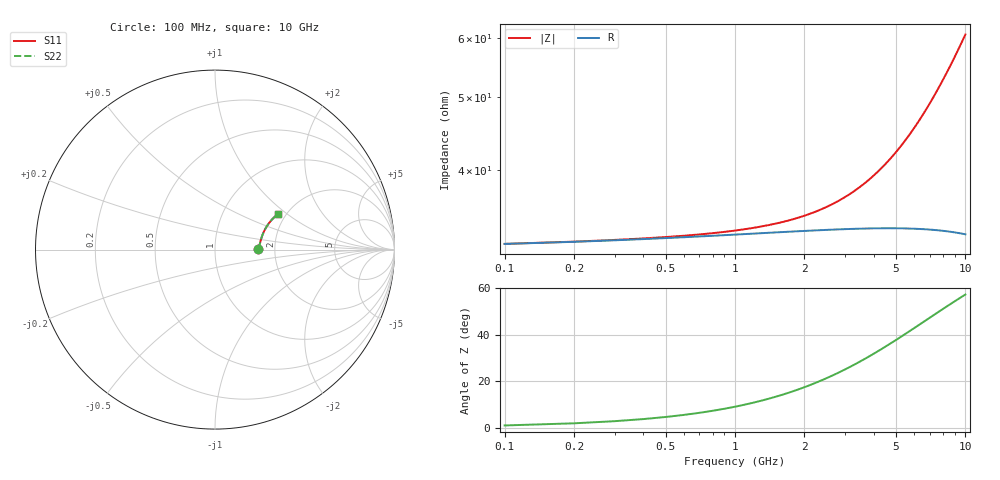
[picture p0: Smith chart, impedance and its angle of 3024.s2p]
# Hz S RI R 50.00
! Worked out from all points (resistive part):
!   100 points, 100 MHz to 10 GHz, reference 50 ohm
!   read as one part in series: R = 31.8 ohm at 100 MHz
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1e8  0.2415 0.00244  0.7585 -0.00347  0.7585 -0.00347  0.2415 0.00244
2e8  0.2427 0.00486  0.7573 -0.00692  0.7573 -0.00692  0.2427 0.00486
4e8  0.2444 0.00967  0.7556 -0.0138  0.7556 -0.0138  0.2444 0.00967
7e8  0.2463 0.0168  0.7536 -0.0241  0.7536 -0.0241  0.2463 0.0168
1.2e9  0.2491 0.0287  0.7508 -0.041  0.7508 -0.041  0.2491 0.0287
1.5e9  0.2507 0.0357  0.7491 -0.0511  0.7491 -0.0511  0.2507 0.0357
1.8e9  0.2524 0.0426  0.7474 -0.0612  0.7474 -0.0612  0.2524 0.0426
2.2e9  0.2549 0.0519  0.7448 -0.0745  0.7448 -0.0745  0.2549 0.0519
2.6e9  0.2575 0.061  0.7421 -0.0878  0.7421 -0.0878  0.2575 0.061
3e9  0.2604 0.0699  0.739 -0.1009  0.739 -0.1009  0.2604 0.0699
3.4e9  0.2636 0.0788  0.7357 -0.1139  0.7357 -0.1139  0.2636 0.0788
3.8e9  0.267 0.0875  0.7321 -0.1267  0.7321 -0.1267  0.267 0.0875
4.2e9  0.2707 0.0961  0.7283 -0.1394  0.7283 -0.1394  0.2707 0.0961
4.6e9  0.2746 0.1045  0.7241 -0.152  0.7241 -0.152  0.2746 0.1045
5.1e9  0.2799 0.1147  0.7185 -0.1674  0.7185 -0.1674  0.2799 0.1147
5.9e9  0.2892 0.1305  0.7087 -0.1915  0.7087 -0.1915  0.2892 0.1305
6.7e9  0.2994 0.1455  0.6979 -0.2148  0.6979 -0.2148  0.2994 0.1455
7.2e9  0.3062 0.1544  0.6906 -0.2289  0.6906 -0.2289  0.3062 0.1544
7.6e9  0.312 0.1613  0.6845 -0.2399  0.6845 -0.2399  0.312 0.1613
8.4e9  0.324 0.1743  0.6717 -0.2612  0.6717 -0.2612  0.324 0.1743
9.2e9  0.3367 0.1863  0.6582 -0.2816  0.6582 -0.2816  0.3367 0.1863
1e10  0.3499 0.1973  0.6439 -0.301  0.6439 -0.301  0.3499 0.1973
